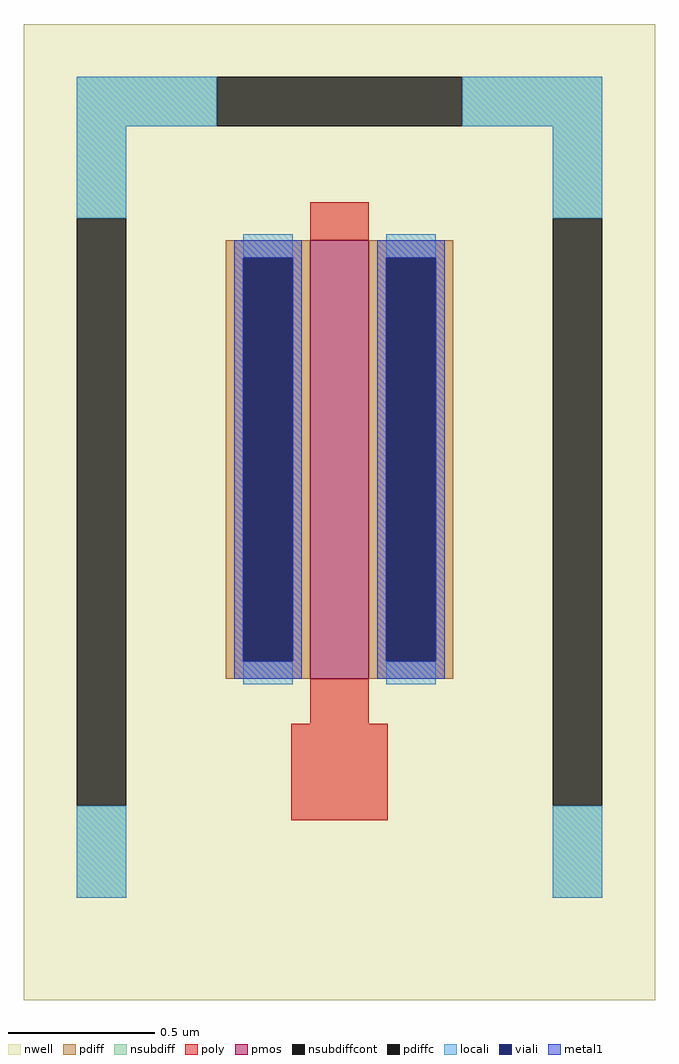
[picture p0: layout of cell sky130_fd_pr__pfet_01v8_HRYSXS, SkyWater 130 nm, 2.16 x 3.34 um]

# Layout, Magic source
magic
tech sky130A
magscale 1 2
<< nwell >>
rect -216 -334 216 334
<< pmos >>
rect -20 -114 20 186
<< pdiff >>
rect -78 174 -20 186
rect -78 -102 -66 174
rect -32 -102 -20 174
rect -78 -114 -20 -102
rect 20 174 78 186
rect 20 -102 32 174
rect 66 -102 78 174
rect 20 -114 78 -102
<< pdiffc >>
rect -66 -102 -32 174
rect 32 -102 66 174
<< nsubdiff >>
rect -180 264 -84 298
rect 84 264 180 298
rect -180 201 -146 264
rect 146 201 180 264
rect -180 -264 -146 -201
rect 146 -264 180 -201
<< nsubdiffcont >>
rect -84 264 84 298
rect -180 -201 -146 201
rect 146 -201 180 201
<< poly >>
rect -20 186 20 212
rect -20 -145 20 -114
rect -33 -211 33 -145
<< locali >>
rect -180 264 -84 298
rect 84 264 180 298
rect -180 201 -146 264
rect 146 201 180 264
rect -66 174 -32 190
rect -66 -118 -32 -102
rect 32 174 66 190
rect 32 -118 66 -102
rect -180 -264 -146 -201
rect 146 -264 180 -201
<< viali >>
rect -66 -102 -32 174
rect 32 -102 66 174
<< metal1 >>
rect -72 174 -26 186
rect -72 -102 -66 174
rect -32 -102 -26 174
rect -72 -114 -26 -102
rect 26 174 72 186
rect 26 -102 32 174
rect 66 -102 72 174
rect 26 -114 72 -102
<< properties >>
string gencell sky130_fd_pr__pfet_01v8
string FIXED_BBOX -163 -281 163 281
string parameters w 1.5 l 0.2 m 1 nf 1 diffcov 100 polycov 100 guard 1 glc 1 grc 1 gtc 1 gbc 0 tbcov 100 rlcov 100 topc 0 botc 1 poverlap 0 doverlap 1 lmin 0.15 wmin 0.42 compatible {sky130_fd_pr__pfet_01v8  sky130_fd_pr__pfet_01v8_lvt sky130_fd_pr__pfet_01v8_hvt  sky130_fd_pr__pfet_g5v0d10v5} full_metal 1 viasrc 100 viadrn 100 viagate 100 viagb 0 viagr 0 viagl 0 viagt 0
string library sky130
<< end >>
